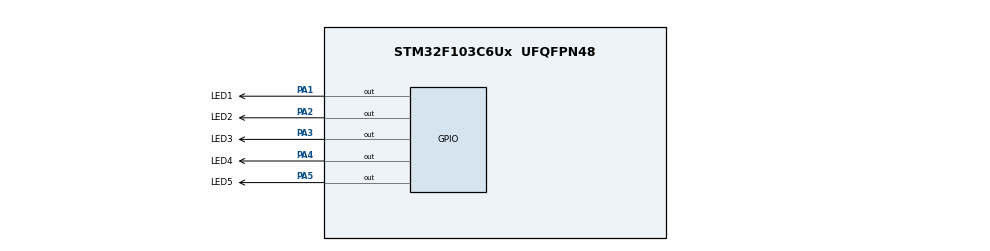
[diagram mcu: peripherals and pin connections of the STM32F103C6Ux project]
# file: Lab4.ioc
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Mcu.Family=STM32F1
Mcu.Name=STM32F103C6Ux
Mcu.Package=UFQFPN48
NVIC.PriorityGroup=NVIC_PRIORITYGROUP_4
NVIC.TIM2_IRQn=true\:0\:0\:false\:false\:true\:true\:true\:true
PA1.GPIO_Label=LED1
PA1.Signal=GPIO_Output
PA2.GPIO_Label=LED2
PA2.Signal=GPIO_Output
PA3.GPIO_Label=LED3
PA3.Signal=GPIO_Output
PA4.GPIO_Label=LED4
PA4.Signal=GPIO_Output
PA5.GPIO_Label=LED5
PA5.Signal=GPIO_Output
ProjectManager.HeapSize=0x200
ProjectManager.StackSize=0x400
ProjectManager.TargetToolchain=STM32CubeIDE
RCC.APB1Freq_Value=8000000
RCC.APB2Freq_Value=8000000
TIM2.Period=9
TIM2.Prescaler=7999
VP_TIM2_VS_ClockSourceINT.Mode=Internal
board=custom

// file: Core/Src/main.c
/* USER CODE BEGIN Header */
/**
  ******************************************************************************
  * @file           : main.c
  * @brief          : Main program body
  ******************************************************************************
  * @attention
  *
  * Copyright (c) 2023 STMicroelectronics.
  * All rights reserved.
  *
  * This software is licensed under terms that can be found in the LICENSE file
  * in the root directory of this software component.
  * If no LICENSE file comes with this software, it is provided AS-IS.
  *
  ******************************************************************************
  */
/* USER CODE END Header */
#include "main.h"

/* USER CODE BEGIN Includes */
#include "scheduler.h"
/* USER CODE END Includes */

TIM_HandleTypeDef htim2;

void SystemClock_Config(void);
static void MX_GPIO_Init(void);
static void MX_TIM2_Init(void);

/* USER CODE BEGIN 0 */
void led1_test(){
	HAL_GPIO_TogglePin(LED1_GPIO_Port, LED1_Pin);
}
void led2_test(){
	HAL_GPIO_TogglePin(LED2_GPIO_Port, LED2_Pin);
}
void led3_test(){
	HAL_GPIO_TogglePin(LED3_GPIO_Port, LED3_Pin);
}
void led4_test(){
	HAL_GPIO_TogglePin(LED4_GPIO_Port, LED4_Pin);
}
void led5_test(){
	HAL_GPIO_TogglePin(LED5_GPIO_Port, LED5_Pin);
}
/* USER CODE END 0 */

int main(void)
{

  /* MCU Configuration--------------------------------------------------------*/

  /* Reset of all peripherals, Initializes the Flash interface and the Systick. */
  HAL_Init();

  /* Configure the system clock */
  SystemClock_Config();

  /* Initialize all configured peripherals */
  MX_GPIO_Init();
  MX_TIM2_Init();
  /* USER CODE BEGIN 2 */
  HAL_TIM_Base_Start_IT(&htim2);
  /* USER CODE END 2 */

  /* Infinite loop */
  /* USER CODE BEGIN WHILE */
  HAL_GPIO_WritePin(LED1_GPIO_Port, LED1_Pin, SET);
  HAL_GPIO_WritePin(LED2_GPIO_Port, LED2_Pin, SET);
  HAL_GPIO_WritePin(LED3_GPIO_Port, LED3_Pin, SET);
  HAL_GPIO_WritePin(LED4_GPIO_Port, LED4_Pin, SET);
  HAL_GPIO_WritePin(LED5_GPIO_Port, LED5_Pin, SET);

  SCH_Add_Task(led1_test, 500, 0);
  SCH_Add_Task(led2_test, 0, 100);
  SCH_Add_Task(led3_test, 0, 150);
  SCH_Add_Task(led4_test, 0, 200);
  SCH_Add_Task(led5_test, 0, 250);
  while (1)
  {
	  SCH_Dispatch_Tasks();
    /* USER CODE END WHILE */

  }
}

void SystemClock_Config(void)
{
  RCC_OscInitTypeDef RCC_OscInitStruct = {0};
  RCC_ClkInitTypeDef RCC_ClkInitStruct = {0};

  /** Initializes the RCC Oscillators according to the specified parameters
  * in the RCC_OscInitTypeDef structure.
  */
  RCC_OscInitStruct.OscillatorType = RCC_OSCILLATORTYPE_HSI;
  RCC_OscInitStruct.HSIState = RCC_HSI_ON;
  RCC_OscInitStruct.HSICalibrationValue = RCC_HSICALIBRATION_DEFAULT;
  RCC_OscInitStruct.PLL.PLLState = RCC_PLL_NONE;
  if (HAL_RCC_OscConfig(&RCC_OscInitStruct) != HAL_OK)
  {
    Error_Handler();
  }

  /** Initializes the CPU, AHB and APB buses clocks
  */
  RCC_ClkInitStruct.ClockType = RCC_CLOCKTYPE_HCLK|RCC_CLOCKTYPE_SYSCLK
                              |RCC_CLOCKTYPE_PCLK1|RCC_CLOCKTYPE_PCLK2;
  RCC_ClkInitStruct.SYSCLKSource = RCC_SYSCLKSOURCE_HSI;
  RCC_ClkInitStruct.AHBCLKDivider = RCC_SYSCLK_DIV1;
  RCC_ClkInitStruct.APB1CLKDivider = RCC_HCLK_DIV1;
  RCC_ClkInitStruct.APB2CLKDivider = RCC_HCLK_DIV1;

  if (HAL_RCC_ClockConfig(&RCC_ClkInitStruct, FLASH_LATENCY_0) != HAL_OK)
  {
    Error_Handler();
  }
}

static void MX_TIM2_Init(void)
{

  TIM_ClockConfigTypeDef sClockSourceConfig = {0};
  TIM_MasterConfigTypeDef sMasterConfig = {0};

  htim2.Instance = TIM2;
  htim2.Init.Prescaler = 7999;
  htim2.Init.CounterMode = TIM_COUNTERMODE_UP;
  htim2.Init.Period = 9;
  htim2.Init.ClockDivision = TIM_CLOCKDIVISION_DIV1;
  htim2.Init.AutoReloadPreload = TIM_AUTORELOAD_PRELOAD_DISABLE;
  if (HAL_TIM_Base_Init(&htim2) != HAL_OK)
  {
    Error_Handler();
  }
  sClockSourceConfig.ClockSource = TIM_CLOCKSOURCE_INTERNAL;
  if (HAL_TIM_ConfigClockSource(&htim2, &sClockSourceConfig) != HAL_OK)
  {
    Error_Handler();
  }
  sMasterConfig.MasterOutputTrigger = TIM_TRGO_RESET;
  sMasterConfig.MasterSlaveMode = TIM_MASTERSLAVEMODE_DISABLE;
  if (HAL_TIMEx_MasterConfigSynchronization(&htim2, &sMasterConfig) != HAL_OK)
  {
    Error_Handler();
  }

}

static void MX_GPIO_Init(void)
{
  GPIO_InitTypeDef GPIO_InitStruct = {0};

  /* GPIO Ports Clock Enable */
  __HAL_RCC_GPIOA_CLK_ENABLE();

  /*Configure GPIO pin Output Level */
  HAL_GPIO_WritePin(GPIOA, LED1_Pin|LED2_Pin|LED3_Pin|LED4_Pin
                          |LED5_Pin, GPIO_PIN_RESET);

  /*Configure GPIO pins : LED1_Pin LED2_Pin LED3_Pin LED4_Pin
                           LED5_Pin */
  GPIO_InitStruct.Pin = LED1_Pin|LED2_Pin|LED3_Pin|LED4_Pin
                          |LED5_Pin;
  GPIO_InitStruct.Mode = GPIO_MODE_OUTPUT_PP;
  GPIO_InitStruct.Pull = GPIO_NOPULL;
  GPIO_InitStruct.Speed = GPIO_SPEED_FREQ_LOW;
  HAL_GPIO_Init(GPIOA, &GPIO_InitStruct);

}

/* USER CODE BEGIN 4 */
void HAL_TIM_PeriodElapsedCallback(TIM_HandleTypeDef *htim){
	SCH_Update();
}
/* USER CODE END 4 */

void Error_Handler(void)
{
  __disable_irq();
  while (1)
  {
  }
}
